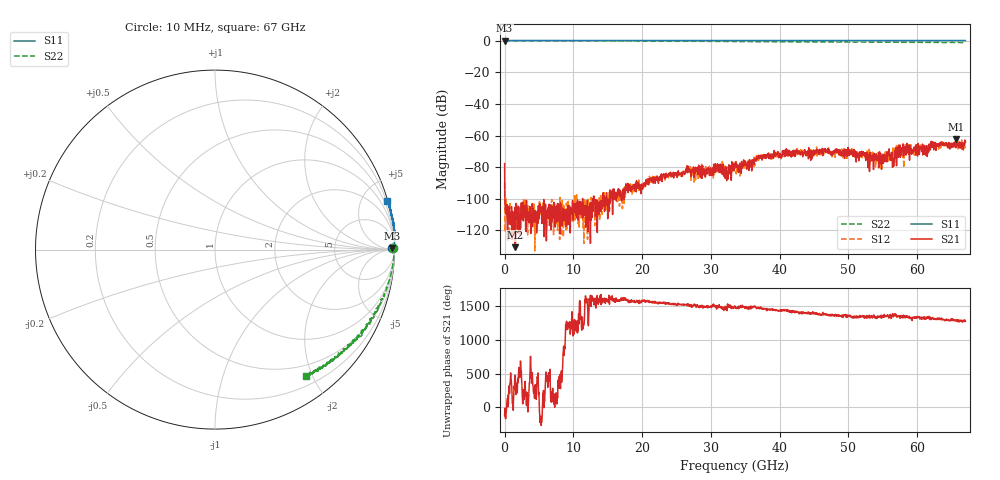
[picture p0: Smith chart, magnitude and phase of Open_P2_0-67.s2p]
!Keysight Technologies,N5247B,MY61256062,A.16.20.04
!Date: Thursday, February 19, 2026 10:00:09
!Correction: S11(C  2-Port  )
!S21(C  2-Port  )
!S12(C  2-Port  )
!S22(C  2-Port  )
!S2P File: Measurements: S11, S21, S12, S22:
# Hz S  dB  R 50
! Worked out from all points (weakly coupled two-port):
!   1601 points, 10 MHz to 67 GHz, reference 50 ohm
!   highest |S21| = -62.46 dB at 65.7 GHz (marker M1); lowest = -130.7 dB at 1.559 GHz (marker M2)
!   lowest |S11| = -0.1 dB at 10 MHz (marker M3), VSWR 165.42, Z = 5.48e+03 + j3.91e+03 ohm
!   |S11| at or under -10 dB: nowhere
!   |S22| runs from -1.3 to 0.0 dB; largest |S21 - S12| = 0.00039
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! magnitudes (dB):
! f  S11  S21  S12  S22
! 10 MHz  -0.1  -77.7  -90.2  -0.1
! 1.559 GHz  0.0  -130.7  -111.8  0.0
! 11.19 GHz  0.0  -108.0  -108.1  -0.1
! 22.37 GHz  0.0  -90.2  -88.6  -0.4
! 33.51 GHz  0.0  -78.8  -79.3  -0.6
! 35.51 GHz  0.0  -82.1  -80.7  -0.6
! 36.98 GHz  0.0  -74.3  -74.4  -0.7
! 39.45 GHz  0.1  -71.4  -73.6  -0.8
! 42.72 GHz  0.0  -70.1  -71.2  -0.9
! 44.68 GHz  0.0  -73.5  -71.2  -0.8
! 48.24 GHz  0.0  -70.9  -70.7  -1.0
! 51.93 GHz  0.0  -72.3  -72.6  -1.0
! 53.69 GHz  0.0  -71.1  -71.2  -1.0
! 55.86 GHz  0.0  -71.3  -71.1  -1.0
! 56.32 GHz  0.0  -70.7  -74.4  -1.0
! 57.62 GHz  0.0  -67.8  -69.9  -1.0
! 58.21 GHz  0.0  -70.8  -68.3  -1.1
! 58.58 GHz  0.0  -67.2  -67.9  -1.1
! 61.22 GHz  0.0  -72.4  -70.6  -1.1
! 62.27 GHz  0.0  -63.9  -67.3  -1.1
! 65.7 GHz  0.0  -62.5  -65.5  -1.2
! 67 GHz  0.0  -64.2  -63.2  -1.2
